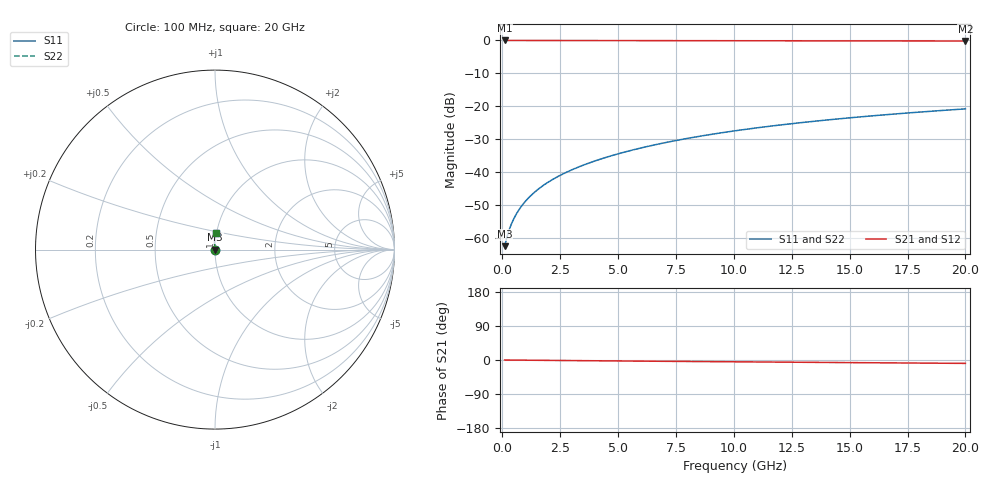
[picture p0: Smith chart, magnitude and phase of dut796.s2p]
! Touchstone file exported from HFSS 2024.1.0
!  File:  C:/UserFiles/LocalFiles/RDL_TSV_Batchsim/temp_RDL_top_796_1779853593.aedt
!  Generated:  11:48:43 AM May 27, 2026
!  Design:  RDL_top
!  Project:  temp_RDL_top_796_1779853593
!  Setup:  Setup1
!  Solution:  Sweep
! Variables:
!  dtsv = 10.80580581um
!  hbump = 3um
!  htsv = 90.67um
!  ldown = 100um
!  lrdl = 104.62um
!  p = 40
!  p1 = 50.86um
!  rhole = 1um
!  t = 450um
!  tdown = 3.915915916um
!  trdl = 3.39um
!  wdown = 15.38538539um
!  wrdl = 29.89um
# GHz S MA R 50.000000
! Terminal data exported
! Port[1] = Box2_T1
! Port[2] = Box2_T2
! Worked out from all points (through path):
!   200 points, 100 MHz to 20 GHz, reference 50 ohm
!   highest |S21| = -0.01 dB at 100 MHz (marker M1); lowest = -0.2 dB at 20 GHz (marker M2)
!   group delay of S21, straight-line fit = 1.22 ps
!   lowest |S11| = -62.4 dB at 100 MHz (marker M3), VSWR 1.00, Z = 50.1 + j0.0407 ohm
!   |S11| at or under -10 dB: start of sweep to end of sweep
!   |S22| runs from -62.4 to -20.8 dB; largest |S21 - S12| = 4e-15
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0.1  0.0007578 32.4  0.9994 -0.1  0.9994 -0.1  0.0007578 32.4
! Gamma 0 0 0 0
! Port Impedance 50 0 50 0
0.2  0.001038 49.5  0.9993 -0.1  0.9993 -0.1  0.001038 49.5
0.3  0.001349 58.5  0.9993 -0.2  0.9993 -0.2  0.001349 58.5
0.4  0.001665 64.1  0.9992 -0.2  0.9992 -0.2  0.001665 64.1
0.5  0.001984 68.2  0.9992 -0.3  0.9992 -0.3  0.001984 68.2
0.6  0.002307 71.3  0.9991 -0.3  0.9991 -0.3  0.002307 71.3
0.8  0.002965 75.9  0.9991 -0.4  0.9991 -0.4  0.002965 75.9
1.1  0.003978 80.3  0.9989 -0.6  0.9989 -0.6  0.003978 80.3
1.3  0.004667 82.3  0.9989 -0.7  0.9989 -0.7  0.004667 82.3
1.6  0.005719 84.6  0.9987 -0.8  0.9987 -0.8  0.005719 84.6
2.1  0.007516 87.4  0.9983 -1.1  0.9983 -1.1  0.007516 87.4
2.7  0.009746 89.6  0.9978 -1.4  0.9978 -1.4  0.009746 89.6
3.5  0.01285 91.6  0.997 -1.8  0.997 -1.8  0.01285 91.6
4.2  0.01568 92.8  0.9962 -2.2  0.9962 -2.2  0.01568 92.8
5  0.01906 93.7  0.9953 -2.5  0.9953 -2.5  0.01906 93.7
6.8  0.02709 94.5  0.993 -3.4  0.993 -3.4  0.02709 94.5
8.4  0.03462 94.3  0.991 -4.1  0.991 -4.1  0.03462 94.3
10.1  0.04284 93.6  0.989 -4.8  0.989 -4.8  0.04284 93.6
11.7  0.05071 92.8  0.9872 -5.5  0.9872 -5.5  0.05071 92.8
13.4  0.05911 91.7  0.9855 -6.2  0.9855 -6.2  0.05911 91.7
16.7  0.07543 89.6  0.9826 -7.6  0.9826 -7.6  0.07543 89.6
20  0.09161 87.5  0.9798 -8.9  0.9798 -8.9  0.09161 87.5
